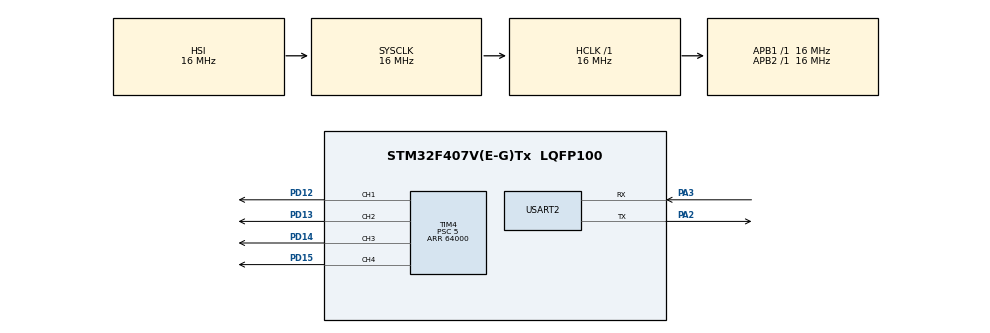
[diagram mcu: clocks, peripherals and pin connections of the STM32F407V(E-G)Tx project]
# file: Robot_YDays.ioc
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Mcu.Family=STM32F4
Mcu.Name=STM32F407V(E-G)Tx
Mcu.Package=LQFP100
NVIC.PriorityGroup=NVIC_PRIORITYGROUP_4
NVIC.USART2_IRQn=true\:0\:0\:false\:false\:true\:true\:true
PA2.Mode=Asynchronous
PA2.Signal=USART2_TX
PA3.Mode=Asynchronous
PA3.Signal=USART2_RX
PD12.Signal=S_TIM4_CH1
PD13.Signal=S_TIM4_CH2
PD14.Signal=S_TIM4_CH3
PD15.Signal=S_TIM4_CH4
ProjectManager.HeapSize=0x200
ProjectManager.StackSize=0x400
ProjectManager.TargetToolchain=MDK-ARM V5
RCC.AHBFreq_Value=16000000
RCC.APB1Freq_Value=16000000
RCC.APB2Freq_Value=16000000
RCC.CortexFreq_Value=16000000
RCC.HSE_VALUE=25000000
RCC.HSI_VALUE=16000000
RCC.LSE_VALUE=32768
RCC.SYSCLKFreq_VALUE=16000000
RCC.VCOOutputFreq_Value=192000000
SH.S_TIM4_CH1.0=TIM4_CH1,PWM Generation1 CH1
SH.S_TIM4_CH2.0=TIM4_CH2,PWM Generation2 CH2
SH.S_TIM4_CH3.0=TIM4_CH3,PWM Generation3 CH3
SH.S_TIM4_CH4.0=TIM4_CH4,PWM Generation4 CH4
TIM4.AutoReloadPreload=TIM_AUTORELOAD_PRELOAD_ENABLE
TIM4.Channel-PWM\ Generation1\ CH1=TIM_CHANNEL_1
TIM4.Channel-PWM\ Generation2\ CH2=TIM_CHANNEL_2
TIM4.Channel-PWM\ Generation3\ CH3=TIM_CHANNEL_3
TIM4.Channel-PWM\ Generation4\ CH4=TIM_CHANNEL_4
TIM4.Period=64000
TIM4.Prescaler=5
USART2.VirtualMode=VM_ASYNC
VP_TIM4_VS_ClockSourceINT.Mode=Internal
board=custom

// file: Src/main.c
/* USER CODE BEGIN Header */
/**
  ******************************************************************************
  * @file           : main.c
  * @brief          : Main program body
  ******************************************************************************
  * @attention
  *
  * <h2><center>&copy; Copyright (c) 2020 STMicroelectronics.
  * All rights reserved.</center></h2>
  *
  * This software component is licensed by ST under BSD 3-Clause license,
  * the "License"; You may not use this file except in compliance with the
  * License. You may obtain a copy of the License at:
  *                        opensource.org/licenses/BSD-3-Clause
  *
  ******************************************************************************
  */
/* USER CODE END Header */

#include "main.h"
#include "tim.h"
#include "usart.h"
#include "gpio.h"

/* USER CODE BEGIN PD */
uint8_t buffer[1];
/* USER CODE END PD */

void SystemClock_Config(void);

int main(void)
{

  /* MCU Configuration--------------------------------------------------------*/

  /* Reset of all peripherals, Initializes the Flash interface and the Systick. */
  HAL_Init();

  /* Configure the system clock */
  SystemClock_Config();

  /* Initialize all configured peripherals */
  MX_GPIO_Init();
  MX_TIM4_Init();
  MX_USART2_UART_Init();
  /* USER CODE BEGIN 2 */
	HAL_UART_Receive_IT(&huart2, buffer, 1);
	HAL_TIM_PWM_Start(&htim4, TIM_CHANNEL_1);
	HAL_TIM_PWM_Start(&htim4, TIM_CHANNEL_2);
	HAL_TIM_PWM_Start(&htim4, TIM_CHANNEL_3);
	HAL_TIM_PWM_Start(&htim4, TIM_CHANNEL_4);

	/*__HAL_TIM_SET_COMPARE(&htim4, TIM_CHANNEL_2, 64000/8);
	__HAL_TIM_SET_COMPARE(&htim4, TIM_CHANNEL_3, 64000);
	__HAL_TIM_SET_COMPARE(&htim4, TIM_CHANNEL_4, 64000/12);*/
  /* USER CODE END 2 */

  /* Infinite loop */
  /* USER CODE BEGIN WHILE */
  while (1)
  {
		// HAL_UART_Transmit(&huart2, (uint8_t*)"OK", 3, 10);
    /* USER CODE END WHILE */

  }
}

void SystemClock_Config(void)
{
  RCC_OscInitTypeDef RCC_OscInitStruct = {0};
  RCC_ClkInitTypeDef RCC_ClkInitStruct = {0};

  /** Configure the main internal regulator output voltage
  */
  __HAL_RCC_PWR_CLK_ENABLE();
  __HAL_PWR_VOLTAGESCALING_CONFIG(PWR_REGULATOR_VOLTAGE_SCALE1);
  /** Initializes the CPU, AHB and APB busses clocks
  */
  RCC_OscInitStruct.OscillatorType = RCC_OSCILLATORTYPE_HSI;
  RCC_OscInitStruct.HSIState = RCC_HSI_ON;
  RCC_OscInitStruct.HSICalibrationValue = RCC_HSICALIBRATION_DEFAULT;
  RCC_OscInitStruct.PLL.PLLState = RCC_PLL_NONE;
  if (HAL_RCC_OscConfig(&RCC_OscInitStruct) != HAL_OK)
  {
    Error_Handler();
  }
  /** Initializes the CPU, AHB and APB busses clocks
  */
  RCC_ClkInitStruct.ClockType = RCC_CLOCKTYPE_HCLK|RCC_CLOCKTYPE_SYSCLK
                              |RCC_CLOCKTYPE_PCLK1|RCC_CLOCKTYPE_PCLK2;
  RCC_ClkInitStruct.SYSCLKSource = RCC_SYSCLKSOURCE_HSI;
  RCC_ClkInitStruct.AHBCLKDivider = RCC_SYSCLK_DIV1;
  RCC_ClkInitStruct.APB1CLKDivider = RCC_HCLK_DIV1;
  RCC_ClkInitStruct.APB2CLKDivider = RCC_HCLK_DIV1;

  if (HAL_RCC_ClockConfig(&RCC_ClkInitStruct, FLASH_LATENCY_0) != HAL_OK)
  {
    Error_Handler();
  }
}

/* USER CODE BEGIN 4 */
void HAL_UART_RxCpltCallback(UART_HandleTypeDef *huart)
{
	static uint8_t trame[6];
	static char index= 0;
	//HAL_UART_Transmit(&huart2, (uint8_t*)"Test : ", 6, 10);
	//HAL_UART_Transmit(&huart2, (uint8_t*)buffer, 1, 10);

	if(buffer[0] == 'a')
	{
		char num_pwm = trame[0];
		char angle[3];
		angle[0] = trame[2];
		angle[1] = trame[3];
		angle[2] = trame[4];
		/* conversion rapide */
		int angle_num = (angle[0]-48)*100 + (angle[1]-48)*10 + (angle[0]-48);
		switch(num_pwm) {
			case '1':
				__HAL_TIM_SET_COMPARE(&htim4, TIM_CHANNEL_1, angle_num*64000/360);
				break;
			case '2':
				__HAL_TIM_SET_COMPARE(&htim4, TIM_CHANNEL_2, angle_num*64000/360);
				break;
			case '3':
				__HAL_TIM_SET_COMPARE(&htim4, TIM_CHANNEL_3, angle_num*64000/360);
				break;
			case '4':
				__HAL_TIM_SET_COMPARE(&htim4, TIM_CHANNEL_4, angle_num*64000/360);
				break;
		}
		index = 0;
		memset(trame, 0, 6);
	}
	else {
		trame[index] = buffer[0];
		index++;
	}
	HAL_UART_Receive_IT(&huart2, (uint8_t *)buffer, 1);
}
/* USER CODE END 4 */

void Error_Handler(void)
{
}

/************************ (C) COPYRIGHT STMicroelectronics *****END OF FILE****/
